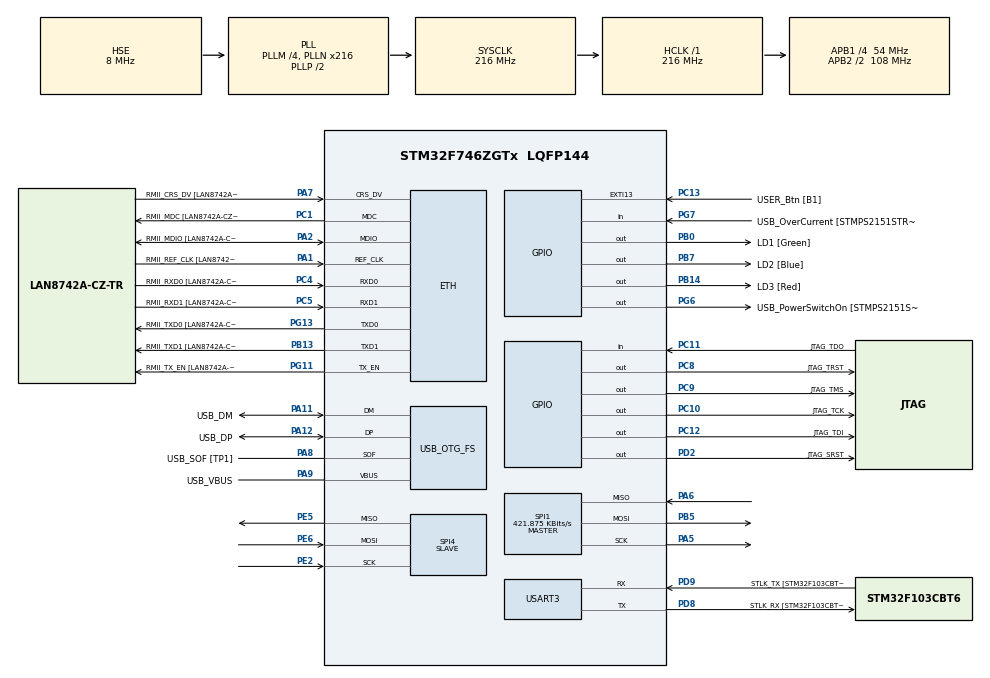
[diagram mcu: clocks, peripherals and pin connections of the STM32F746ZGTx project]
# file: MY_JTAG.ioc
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CORTEX_M7.CPU_DCache=Enabled
CORTEX_M7.CPU_ICache=Enabled
CORTEX_M7.default_mode_Activation=0
ETH.MediaInterface=HAL_ETH_RMII_MODE
ETH.PHY_Name=LAN8742A_PHY_ADDRESS
ETH.PHY_Value=0
ETH.PhyAddress=0
Mcu.Family=STM32F7
Mcu.Name=STM32F746ZGTx
Mcu.Package=LQFP144
NVIC.OTG_FS_IRQn=true\:0\:0\:false\:false\:true\:false\:true\:true
NVIC.PriorityGroup=NVIC_PRIORITYGROUP_4
PA1.GPIO_Label=RMII_REF_CLK [LAN8742A-CZ-TR_REFCLK0]
PA1.Mode=RMII
PA1.Signal=ETH_REF_CLK
PA10.GPIO_Label=USB_ID
PA10.Signal=USB_OTG_FS_ID
PA11.GPIO_Label=USB_DM
PA11.Mode=Device_Only
PA11.Signal=USB_OTG_FS_DM
PA12.GPIO_Label=USB_DP
PA12.Mode=Device_Only
PA12.Signal=USB_OTG_FS_DP
PA13.GPIO_Label=TMS
PA13.Mode=Serial_Wire
PA13.Signal=SYS_JTMS-SWDIO
PA14.GPIO_Label=TCK
PA14.Mode=Serial_Wire
PA14.Signal=SYS_JTCK-SWCLK
PA2.GPIO_Label=RMII_MDIO [LAN8742A-CZ-TR_MDIO]
PA2.Mode=RMII
PA2.Signal=ETH_MDIO
PA5.Mode=Full_Duplex_Master
PA5.Signal=SPI1_SCK
PA6.Mode=Full_Duplex_Master
PA6.Signal=SPI1_MISO
PA7.GPIO_Label=RMII_CRS_DV [LAN8742A-CZ-TR_CRS_DV]
PA7.Mode=RMII
PA7.Signal=ETH_CRS_DV
PA8.GPIO_Label=USB_SOF [TP1]
PA8.Mode=Activate_SOF_FS
PA8.Signal=USB_OTG_FS_SOF
PA9.GPIO_Label=USB_VBUS
PA9.Mode=Activate_VBUS
PA9.Signal=USB_OTG_FS_VBUS
PB0.GPIO_Label=LD1 [Green]
PB0.Signal=GPIO_Output
PB13.GPIO_Label=RMII_TXD1 [LAN8742A-CZ-TR_TXD1]
PB13.Mode=RMII
PB13.Signal=ETH_TXD1
PB14.GPIO_Label=LD3 [Red]
PB14.Signal=GPIO_Output
PB3.GPIO_Label=SW0
PB3.Signal=SYS_JTDO-SWO
PB5.Mode=Full_Duplex_Master
PB5.Signal=SPI1_MOSI
PB7.GPIO_Label=LD2 [Blue]
PB7.Signal=GPIO_Output
PC1.GPIO_Label=RMII_MDC [LAN8742A-CZ-TR_MDC]
PC1.Mode=RMII
PC1.Signal=ETH_MDC
PC10.GPIO_Label=JTAG_TCK
PC10.GPIO_PuPd=GPIO_PULLDOWN
PC10.GPIO_Speed=GPIO_SPEED_FREQ_VERY_HIGH
PC10.PinState=GPIO_PIN_RESET
PC10.Signal=GPIO_Output
PC11.GPIO_Label=JTAG_TDO
PC11.GPIO_PuPd=GPIO_PULLUP
PC11.Signal=GPIO_Input
PC12.GPIO_Label=JTAG_TDI
PC12.GPIO_ModeDefaultOutputPP=GPIO_MODE_OUTPUT_PP
PC12.GPIO_PuPd=GPIO_PULLUP
PC12.GPIO_Speed=GPIO_SPEED_FREQ_VERY_HIGH
PC12.PinState=GPIO_PIN_SET
PC12.Signal=GPIO_Output
PC13.GPIO_Label=USER_Btn [B1]
PC13.Signal=GPXTI13
PC14/OSC32_IN.Mode=LSE-External-Oscillator
PC14/OSC32_IN.Signal=RCC_OSC32_IN
PC15/OSC32_OUT.Mode=LSE-External-Oscillator
PC15/OSC32_OUT.Signal=RCC_OSC32_OUT
PC4.GPIO_Label=RMII_RXD0 [LAN8742A-CZ-TR_RXD0]
PC4.Mode=RMII
PC4.Signal=ETH_RXD0
PC5.GPIO_Label=RMII_RXD1 [LAN8742A-CZ-TR_RXD1]
PC5.Mode=RMII
PC5.Signal=ETH_RXD1
PC8.GPIO_Label=JTAG_TRST
PC8.GPIO_PuPd=GPIO_NOPULL
PC8.GPIO_Speed=GPIO_SPEED_FREQ_VERY_HIGH
PC8.PinState=GPIO_PIN_SET
PC8.Signal=GPIO_Output
PC9.GPIO_Label=JTAG_TMS
PC9.GPIO_PuPd=GPIO_PULLDOWN
PC9.GPIO_Speed=GPIO_SPEED_FREQ_VERY_HIGH
PC9.Signal=GPIO_Output
PD2.GPIO_Label=JTAG_SRST
PD2.GPIO_PuPd=GPIO_PULLUP
PD2.GPIO_Speed=GPIO_SPEED_FREQ_VERY_HIGH
PD2.PinState=GPIO_PIN_SET
PD2.Signal=GPIO_Output
PD8.GPIO_Label=STLK_RX [STM32F103CBT6_PA3]
PD8.GPIO_PuPd=GPIO_PULLUP
PD8.Mode=Asynchronous
PD8.Signal=USART3_TX
PD9.GPIO_Label=STLK_TX [STM32F103CBT6_PA2]
PD9.GPIO_PuPd=GPIO_PULLUP
PD9.Mode=Asynchronous
PD9.Signal=USART3_RX
PE2.Mode=Full_Duplex_Slave
PE2.Signal=SPI4_SCK
PE5.Mode=Full_Duplex_Slave
PE5.Signal=SPI4_MISO
PE6.Mode=Full_Duplex_Slave
PE6.Signal=SPI4_MOSI
PG11.GPIO_Label=RMII_TX_EN [LAN8742A-CZ-TR_TXEN]
PG11.Mode=RMII
PG11.Signal=ETH_TX_EN
PG13.GPIO_Label=RMII_TXD0 [LAN8742A-CZ-TR_TXD0]
PG13.Mode=RMII
PG13.Signal=ETH_TXD0
PG6.GPIO_Label=USB_PowerSwitchOn [STMPS2151STR_EN]
PG6.Signal=GPIO_Output
PG7.GPIO_Label=USB_OverCurrent [STMPS2151STR_FAULT]
PG7.Signal=GPIO_Input
PH0/OSC_IN.GPIO_Label=MCO [STM32F103CBT6_PA8]
PH0/OSC_IN.Mode=HSE-External-Clock-Source
PH0/OSC_IN.Signal=RCC_OSC_IN
PH1/OSC_OUT.Mode=HSE-External-Clock-Source
PH1/OSC_OUT.Signal=RCC_OSC_OUT
ProjectManager.HeapSize=0x200
ProjectManager.StackSize=0x400
ProjectManager.TargetToolchain=STM32CubeIDE
RCC.48MHZClocksFreq_Value=24000000
RCC.AHBFreq_Value=216000000
RCC.APB1CLKDivider=RCC_HCLK_DIV4
RCC.APB1Freq_Value=54000000
RCC.APB1TimFreq_Value=108000000
RCC.APB2CLKDivider=RCC_HCLK_DIV2
RCC.APB2Freq_Value=108000000
RCC.APB2TimFreq_Value=216000000
RCC.CortexFreq_Value=216000000
RCC.HCLKFreq_Value=216000000
RCC.HSE_VALUE=8000000
RCC.HSI_VALUE=16000000
RCC.PLLM=4
RCC.PLLMUL=RCC_PLL_MUL9
RCC.PLLN=216
RCC.PLLQ=9
RCC.PRESCALERUSB=RCC_USBCLKSOURCE_PLL_DIV1_5
RCC.SYSCLKFreq_VALUE=216000000
RCC.SYSCLKSource=RCC_SYSCLKSOURCE_PLLCLK
RCC.SYSCLKSourceVirtual=RCC_SYSCLKSOURCE_PLLCLK
RCC.USBFreq_Value=48000000
RCC.VCOOutputFreq_Value=432000000
SPI1.BaudRatePrescaler=SPI_BAUDRATEPRESCALER_256
SPI1.CalculateBaudRate=421.875 KBits/s
SPI1.Direction=SPI_DIRECTION_2LINES
SPI1.FirstBit=SPI_FIRSTBIT_LSB
SPI1.Mode=SPI_MODE_MASTER
SPI1.VirtualType=VM_MASTER
SPI4.CLKPhase=SPI_PHASE_1EDGE
SPI4.CLKPolarity=SPI_POLARITY_LOW
SPI4.DataSize=SPI_DATASIZE_8BIT
SPI4.Direction=SPI_DIRECTION_2LINES
SPI4.FirstBit=SPI_FIRSTBIT_LSB
SPI4.Mode=SPI_MODE_SLAVE
SPI4.VirtualType=VM_SLAVE
USART3.VirtualMode-Asynchronous=VM_ASYNC
USB_DEVICE.CLASS_NAME_FS=CUSTOM_HID
USB_DEVICE.PRODUCT_STRING_CUSTOMHID_FS=CMSIS-DAP by Sahin
USB_DEVICE.VirtualMode-CUSTOM_HID_FS=CustomHid
USB_DEVICE.VirtualModeFS=Custom_Hid_FS
USB_OTG_FS.VirtualMode=Device_Only
VP_USB_DEVICE_VS_USB_DEVICE_CUSTOM_HID_FS.Mode=CUSTOM_HID_FS
board=NUCLEO-F746ZG

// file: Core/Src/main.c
/* USER CODE BEGIN Header */
/**
  ******************************************************************************
  * @file           : main.c
  * @brief          : Main program body
  ******************************************************************************
  * @attention
  *
  * Copyright (c) 2025 STMicroelectronics.
  * All rights reserved.
  *
  * This software is licensed under terms that can be found in the LICENSE file
  * in the root directory of this software component.
  * If no LICENSE file comes with this software, it is provided AS-IS.
  *
  ******************************************************************************
  */
/* USER CODE END Header */
#include "main.h"
#include "string.h"
#include "usb_device.h"

/* USER CODE BEGIN Includes */
#include "DAP.h"
#include "usbd_customhid.h"
#include "helper.h"
#include "port.h"
/* USER CODE END Includes */

#if defined ( __ICCARM__ ) /*!< IAR Compiler */
#pragma location=0x2004c000
ETH_DMADescTypeDef  DMARxDscrTab[ETH_RX_DESC_CNT]; /* Ethernet Rx DMA Descriptors */
#pragma location=0x2004c0a0
ETH_DMADescTypeDef  DMATxDscrTab[ETH_TX_DESC_CNT]; /* Ethernet Tx DMA Descriptors */

#elif defined ( __CC_ARM )  /* MDK ARM Compiler */

__attribute__((at(0x2004c000))) ETH_DMADescTypeDef  DMARxDscrTab[ETH_RX_DESC_CNT]; /* Ethernet Rx DMA Descriptors */
__attribute__((at(0x2004c0a0))) ETH_DMADescTypeDef  DMATxDscrTab[ETH_TX_DESC_CNT]; /* Ethernet Tx DMA Descriptors */

#elif defined ( __GNUC__ ) /* GNU Compiler */

ETH_DMADescTypeDef DMARxDscrTab[ETH_RX_DESC_CNT] __attribute__((section(".RxDecripSection"))); /* Ethernet Rx DMA Descriptors */
ETH_DMADescTypeDef DMATxDscrTab[ETH_TX_DESC_CNT] __attribute__((section(".TxDecripSection")));   /* Ethernet Tx DMA Descriptors */
#endif

ETH_TxPacketConfig TxConfig;

ETH_HandleTypeDef heth;

SPI_HandleTypeDef hspi1;
SPI_HandleTypeDef hspi4;

UART_HandleTypeDef huart3;

/* USER CODE BEGIN PV */

uint8_t wrBuff[128] = {0};
uint8_t rdBuff[128] = {0};
uint8_t wrIdx = 0;
uint8_t rdIdx = 0;
volatile uint32_t msgAvailable;

extern USBD_HandleTypeDef hUsbDeviceFS;

/* USER CODE END PV */

void SystemClock_Config(void);
static void MX_GPIO_Init(void);
static void MX_ETH_Init(void);
static void MX_USART3_UART_Init(void);
static void MX_SPI1_Init(void);
static void MX_SPI4_Init(void);

int main(void)
{

  /* Enable the CPU Cache */

  /* Enable I-Cache---------------------------------------------------------*/
  SCB_EnableICache();

  /* Enable D-Cache---------------------------------------------------------*/
  SCB_EnableDCache();

  /* MCU Configuration--------------------------------------------------------*/

  /* Reset of all peripherals, Initializes the Flash interface and the Systick. */
  HAL_Init();

  /* Configure the system clock */
  SystemClock_Config();

  /* Initialize all configured peripherals */
  MX_GPIO_Init();
  MX_ETH_Init();
  MX_USART3_UART_Init();
  MX_SPI1_Init();
  MX_SPI4_Init();
  MX_USB_DEVICE_Init();
  /* USER CODE BEGIN 2 */

  HardResetSPI();

  Switch_SPI();

  /* USER CODE END 2 */

  /* Infinite loop */
  /* USER CODE BEGIN WHILE */

  /* enable cycle counter, some cmsis dap commands may require timestamps */
  DWT->LAR = 0xC5ACCE55;
  CoreDebug->DEMCR |= CoreDebug_DEMCR_TRCENA_Msk;
  DWT->CYCCNT = 0;
  DWT->CTRL  |= DWT_CTRL_CYCCNTENA_Msk;

  while (1)
  {

	  uint32_t num;

	  /* msgAvailable variable is set form interrupt context. i.e.,
	   * USBD_CUSTOM_HID_ReceivePacket function */
	  if(msgAvailable)
	  {
		  uint32_t readLen, writeLen;

		  __disable_irq();
		  num = DAP_ProcessCommand(rdBuff, wrBuff);

		  readLen = (num & 0xFFFF0000) >> 16;

		  wrIdx += readLen;
		  writeLen = (num & 0xFFFF);

		  USBD_CUSTOM_HID_SendReport(&hUsbDeviceFS,
		  			  wrBuff, writeLen);

		  msgAvailable = 0;
		  __enable_irq();
	  }

    /* USER CODE END WHILE */

  }
}

void SystemClock_Config(void)
{
  RCC_OscInitTypeDef RCC_OscInitStruct = {0};
  RCC_ClkInitTypeDef RCC_ClkInitStruct = {0};

  /** Configure LSE Drive Capability
  */
  HAL_PWR_EnableBkUpAccess();

  /** Configure the main internal regulator output voltage
  */
  __HAL_RCC_PWR_CLK_ENABLE();
  __HAL_PWR_VOLTAGESCALING_CONFIG(PWR_REGULATOR_VOLTAGE_SCALE1);

  /** Initializes the RCC Oscillators according to the specified parameters
  * in the RCC_OscInitTypeDef structure.
  */
  RCC_OscInitStruct.OscillatorType = RCC_OSCILLATORTYPE_HSE;
  RCC_OscInitStruct.HSEState = RCC_HSE_BYPASS;
  RCC_OscInitStruct.PLL.PLLState = RCC_PLL_ON;
  RCC_OscInitStruct.PLL.PLLSource = RCC_PLLSOURCE_HSE;
  RCC_OscInitStruct.PLL.PLLM = 4;
  RCC_OscInitStruct.PLL.PLLN = 216;
  RCC_OscInitStruct.PLL.PLLP = RCC_PLLP_DIV2;
  RCC_OscInitStruct.PLL.PLLQ = 9;
  if (HAL_RCC_OscConfig(&RCC_OscInitStruct) != HAL_OK)
  {
    Error_Handler();
  }

  /** Activate the Over-Drive mode
  */
  if (HAL_PWREx_EnableOverDrive() != HAL_OK)
  {
    Error_Handler();
  }

  /** Initializes the CPU, AHB and APB buses clocks
  */
  RCC_ClkInitStruct.ClockType = RCC_CLOCKTYPE_HCLK|RCC_CLOCKTYPE_SYSCLK
                              |RCC_CLOCKTYPE_PCLK1|RCC_CLOCKTYPE_PCLK2;
  RCC_ClkInitStruct.SYSCLKSource = RCC_SYSCLKSOURCE_PLLCLK;
  RCC_ClkInitStruct.AHBCLKDivider = RCC_SYSCLK_DIV1;
  RCC_ClkInitStruct.APB1CLKDivider = RCC_HCLK_DIV4;
  RCC_ClkInitStruct.APB2CLKDivider = RCC_HCLK_DIV2;

  if (HAL_RCC_ClockConfig(&RCC_ClkInitStruct, FLASH_LATENCY_7) != HAL_OK)
  {
    Error_Handler();
  }
}

static void MX_ETH_Init(void)
{

   static uint8_t MACAddr[6];

  heth.Instance = ETH;
  MACAddr[0] = 0x00;
  MACAddr[1] = 0x80;
  MACAddr[2] = 0xE1;
  MACAddr[3] = 0x00;
  MACAddr[4] = 0x00;
  MACAddr[5] = 0x00;
  heth.Init.MACAddr = &MACAddr[0];
  heth.Init.MediaInterface = HAL_ETH_RMII_MODE;
  heth.Init.TxDesc = DMATxDscrTab;
  heth.Init.RxDesc = DMARxDscrTab;
  heth.Init.RxBuffLen = 1524;

  if (HAL_ETH_Init(&heth) != HAL_OK)
  {
    Error_Handler();
  }

  memset(&TxConfig, 0 , sizeof(ETH_TxPacketConfig));
  TxConfig.Attributes = ETH_TX_PACKETS_FEATURES_CSUM | ETH_TX_PACKETS_FEATURES_CRCPAD;
  TxConfig.ChecksumCtrl = ETH_CHECKSUM_IPHDR_PAYLOAD_INSERT_PHDR_CALC;
  TxConfig.CRCPadCtrl = ETH_CRC_PAD_INSERT;

}

static void MX_SPI1_Init(void)
{

  /* SPI1 parameter configuration*/
  hspi1.Instance = SPI1;
  hspi1.Init.Mode = SPI_MODE_MASTER;
  hspi1.Init.Direction = SPI_DIRECTION_2LINES;
  hspi1.Init.DataSize = SPI_DATASIZE_4BIT;
  hspi1.Init.CLKPolarity = SPI_POLARITY_LOW;
  hspi1.Init.CLKPhase = SPI_PHASE_1EDGE;
  hspi1.Init.NSS = SPI_NSS_SOFT;
  hspi1.Init.BaudRatePrescaler = SPI_BAUDRATEPRESCALER_256;
  hspi1.Init.FirstBit = SPI_FIRSTBIT_LSB;
  hspi1.Init.TIMode = SPI_TIMODE_DISABLE;
  hspi1.Init.CRCCalculation = SPI_CRCCALCULATION_DISABLE;
  hspi1.Init.CRCPolynomial = 7;
  hspi1.Init.CRCLength = SPI_CRC_LENGTH_DATASIZE;
  hspi1.Init.NSSPMode = SPI_NSS_PULSE_ENABLE;
  if (HAL_SPI_Init(&hspi1) != HAL_OK)
  {
    Error_Handler();
  }

}

static void MX_SPI4_Init(void)
{

  /* SPI4 parameter configuration*/
  hspi4.Instance = SPI4;
  hspi4.Init.Mode = SPI_MODE_SLAVE;
  hspi4.Init.Direction = SPI_DIRECTION_2LINES;
  hspi4.Init.DataSize = SPI_DATASIZE_8BIT;
  hspi4.Init.CLKPolarity = SPI_POLARITY_LOW;
  hspi4.Init.CLKPhase = SPI_PHASE_1EDGE;
  hspi4.Init.NSS = SPI_NSS_SOFT;
  hspi4.Init.FirstBit = SPI_FIRSTBIT_LSB;
  hspi4.Init.TIMode = SPI_TIMODE_DISABLE;
  hspi4.Init.CRCCalculation = SPI_CRCCALCULATION_DISABLE;
  hspi4.Init.CRCPolynomial = 7;
  hspi4.Init.CRCLength = SPI_CRC_LENGTH_DATASIZE;
  hspi4.Init.NSSPMode = SPI_NSS_PULSE_DISABLE;
  if (HAL_SPI_Init(&hspi4) != HAL_OK)
  {
    Error_Handler();
  }

}

static void MX_USART3_UART_Init(void)
{

  huart3.Instance = USART3;
  huart3.Init.BaudRate = 115200;
  huart3.Init.WordLength = UART_WORDLENGTH_8B;
  huart3.Init.StopBits = UART_STOPBITS_1;
  huart3.Init.Parity = UART_PARITY_NONE;
  huart3.Init.Mode = UART_MODE_TX_RX;
  huart3.Init.HwFlowCtl = UART_HWCONTROL_NONE;
  huart3.Init.OverSampling = UART_OVERSAMPLING_16;
  huart3.Init.OneBitSampling = UART_ONE_BIT_SAMPLE_DISABLE;
  huart3.AdvancedInit.AdvFeatureInit = UART_ADVFEATURE_NO_INIT;
  if (HAL_UART_Init(&huart3) != HAL_OK)
  {
    Error_Handler();
  }

}

static void MX_GPIO_Init(void)
{
  GPIO_InitTypeDef GPIO_InitStruct = {0};

  /* GPIO Ports Clock Enable */
  __HAL_RCC_GPIOE_CLK_ENABLE();
  __HAL_RCC_GPIOC_CLK_ENABLE();
  __HAL_RCC_GPIOH_CLK_ENABLE();
  __HAL_RCC_GPIOA_CLK_ENABLE();
  __HAL_RCC_GPIOB_CLK_ENABLE();
  __HAL_RCC_GPIOD_CLK_ENABLE();
  __HAL_RCC_GPIOG_CLK_ENABLE();

  /*Configure GPIO pin Output Level */
  HAL_GPIO_WritePin(GPIOB, LD1_Pin|LD3_Pin|LD2_Pin, GPIO_PIN_RESET);

  /*Configure GPIO pin Output Level */
  HAL_GPIO_WritePin(USB_PowerSwitchOn_GPIO_Port, USB_PowerSwitchOn_Pin, GPIO_PIN_RESET);

  /*Configure GPIO pin Output Level */
  HAL_GPIO_WritePin(GPIOC, JTAG_TRST_Pin|JTAG_TDI_Pin, GPIO_PIN_SET);

  /*Configure GPIO pin Output Level */
  HAL_GPIO_WritePin(GPIOC, JTAG_TMS_Pin|JTAG_TCK_Pin, GPIO_PIN_RESET);

  /*Configure GPIO pin Output Level */
  HAL_GPIO_WritePin(JTAG_SRST_GPIO_Port, JTAG_SRST_Pin, GPIO_PIN_SET);

  /*Configure GPIO pin : USER_Btn_Pin */
  GPIO_InitStruct.Pin = USER_Btn_Pin;
  GPIO_InitStruct.Mode = GPIO_MODE_IT_RISING;
  GPIO_InitStruct.Pull = GPIO_NOPULL;
  HAL_GPIO_Init(USER_Btn_GPIO_Port, &GPIO_InitStruct);

  /*Configure GPIO pins : LD1_Pin LD3_Pin LD2_Pin */
  GPIO_InitStruct.Pin = LD1_Pin|LD3_Pin|LD2_Pin;
  GPIO_InitStruct.Mode = GPIO_MODE_OUTPUT_PP;
  GPIO_InitStruct.Pull = GPIO_NOPULL;
  GPIO_InitStruct.Speed = GPIO_SPEED_FREQ_LOW;
  HAL_GPIO_Init(GPIOB, &GPIO_InitStruct);

  /*Configure GPIO pin : USB_PowerSwitchOn_Pin */
  GPIO_InitStruct.Pin = USB_PowerSwitchOn_Pin;
  GPIO_InitStruct.Mode = GPIO_MODE_OUTPUT_PP;
  GPIO_InitStruct.Pull = GPIO_NOPULL;
  GPIO_InitStruct.Speed = GPIO_SPEED_FREQ_LOW;
  HAL_GPIO_Init(USB_PowerSwitchOn_GPIO_Port, &GPIO_InitStruct);

  /*Configure GPIO pin : USB_OverCurrent_Pin */
  GPIO_InitStruct.Pin = USB_OverCurrent_Pin;
  GPIO_InitStruct.Mode = GPIO_MODE_INPUT;
  GPIO_InitStruct.Pull = GPIO_NOPULL;
  HAL_GPIO_Init(USB_OverCurrent_GPIO_Port, &GPIO_InitStruct);

  /*Configure GPIO pin : JTAG_TRST_Pin */
  GPIO_InitStruct.Pin = JTAG_TRST_Pin;
  GPIO_InitStruct.Mode = GPIO_MODE_OUTPUT_PP;
  GPIO_InitStruct.Pull = GPIO_NOPULL;
  GPIO_InitStruct.Speed = GPIO_SPEED_FREQ_VERY_HIGH;
  HAL_GPIO_Init(JTAG_TRST_GPIO_Port, &GPIO_InitStruct);

  /*Configure GPIO pins : JTAG_TMS_Pin JTAG_TCK_Pin */
  GPIO_InitStruct.Pin = JTAG_TMS_Pin|JTAG_TCK_Pin;
  GPIO_InitStruct.Mode = GPIO_MODE_OUTPUT_PP;
  GPIO_InitStruct.Pull = GPIO_PULLDOWN;
  GPIO_InitStruct.Speed = GPIO_SPEED_FREQ_VERY_HIGH;
  HAL_GPIO_Init(GPIOC, &GPIO_InitStruct);

  /*Configure GPIO pin : JTAG_TDO_Pin */
  GPIO_InitStruct.Pin = JTAG_TDO_Pin;
  GPIO_InitStruct.Mode = GPIO_MODE_INPUT;
  GPIO_InitStruct.Pull = GPIO_PULLUP;
  HAL_GPIO_Init(JTAG_TDO_GPIO_Port, &GPIO_InitStruct);

  /*Configure GPIO pin : JTAG_TDI_Pin */
  GPIO_InitStruct.Pin = JTAG_TDI_Pin;
  GPIO_InitStruct.Mode = GPIO_MODE_OUTPUT_PP;
  GPIO_InitStruct.Pull = GPIO_PULLUP;
  GPIO_InitStruct.Speed = GPIO_SPEED_FREQ_VERY_HIGH;
  HAL_GPIO_Init(JTAG_TDI_GPIO_Port, &GPIO_InitStruct);

  /*Configure GPIO pin : JTAG_SRST_Pin */
  GPIO_InitStruct.Pin = JTAG_SRST_Pin;
  GPIO_InitStruct.Mode = GPIO_MODE_OUTPUT_PP;
  GPIO_InitStruct.Pull = GPIO_PULLUP;
  GPIO_InitStruct.Speed = GPIO_SPEED_FREQ_VERY_HIGH;
  HAL_GPIO_Init(JTAG_SRST_GPIO_Port, &GPIO_InitStruct);

}

void Error_Handler(void)
{
  __disable_irq();
  while (1)
  {
  }
}
